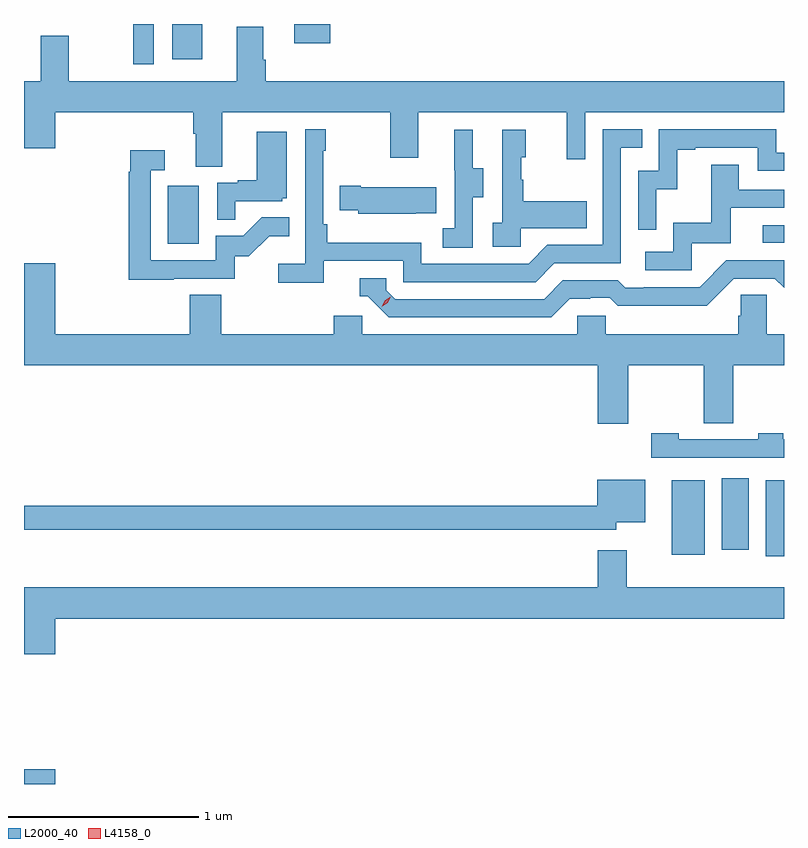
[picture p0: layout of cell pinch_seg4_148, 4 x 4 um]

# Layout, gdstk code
import gdstk
lib = gdstk.Library(unit=1e-6, precision=1e-09)
def R(c, l, rs):  # rectangles x0, y0, x1, y1
    for r in rs: c.add(gdstk.rectangle(r[:2], r[2:], *l))
def P(c, l, *ps):  # polygons
    for p in ps: c.add(gdstk.Polygon(p, *l))
L2000_40 = (2000, 40)
L4158_0 = (4158, 0)

pinch_seg4_148 = lib.new_cell('pinch_seg4_148')
R(pinch_seg4_148, L2000_40, [(1124.048,789.289,1124.212,789.367), (1127.951,790.488,1128.048,790.888), (1127.456,790.496,1127.632,790.888), (1127.72,790.521,1127.863,790.897), (1124.804,792.132,1124.968,792.439), (1127.937,792.138,1128.048,792.231), (1124.622,793.077,1124.73,793.289), (1124.828,793.104,1124.986,793.289), (1125.471,793.188,1125.659,793.289)])
P(pinch_seg4_148, L2000_40, [(1125.091,792.824),(1125.976,792.824),(1125.976,792.585),(1126.123,792.585),(1126.123,792.824),(1126.904,792.824),(1126.904,792.576),(1127.001,792.576),(1127.001,792.824),(1128.048,792.824),(1128.048,792.988),(1125.32,792.988),(1125.32,793.1),(1125.307,793.1),(1125.307,793.274),(1125.167,793.274),(1125.167,792.988),(1124.283,792.988),(1124.283,793.228),(1124.135,793.228),(1124.135,792.988),(1124.048,792.988),(1124.048,792.636),(1124.212,792.636),(1124.212,792.824),(1124.939,792.824),(1124.939,792.712),(1124.951,792.712),(1124.951,792.538),(1125.091,792.538)],
  [(1125.626,792.042),(1126.044,792.042),(1126.044,791.931),(1126.741,791.931),(1126.84,792.03),(1127.19,792.03),(1127.19,792.639),(1127.303,792.639),(1127.303,792.735),(1127.094,792.735),(1127.094,792.126),(1126.803,792.126),(1126.704,792.027),(1126.14,792.027),(1126.14,792.139),(1125.644,792.139),(1125.644,792.235),(1125.624,792.235),(1125.624,792.623),(1125.637,792.623),(1125.637,792.736),(1125.528,792.736),(1125.528,792.028),(1125.387,792.028),(1125.387,791.926),(1125.626,791.926)],
  [(1127.376,792.419),(1127.486,792.419),(1127.486,792.627),(1127.581,792.627),(1127.581,792.639),(1127.91,792.639),(1127.91,792.516),(1128.048,792.516),(1128.048,792.612),(1128.006,792.612),(1128.006,792.735),(1127.388,792.735),(1127.388,792.516),(1127.28,792.516),(1127.28,792.207),(1127.376,792.207)],
  [(1126.41,792.376),(1126.465,792.376),(1126.465,792.531),(1126.411,792.531),(1126.411,792.733),(1126.313,792.733),(1126.313,792.519),(1126.314,792.519),(1126.314,792.215),(1126.251,792.215),(1126.251,792.112),(1126.41,792.112)],
  [(1126.662,792.215),(1127.009,792.215),(1127.009,792.355),(1126.675,792.355),(1126.675,792.47),(1126.665,792.47),(1126.665,792.588),(1126.69,792.588),(1126.69,792.733),(1126.566,792.733),(1126.566,792.242),(1126.515,792.242),(1126.515,792.117),(1126.662,792.117)],
  [(1125.161,792.357),(1125.408,792.357),(1125.408,792.372),(1125.43,792.372),(1125.43,792.721),(1125.272,792.721),(1125.272,792.466),(1125.173,792.466),(1125.173,792.453),(1125.066,792.453),(1125.066,792.259),(1125.161,792.259)],
  [(1124.837,791.949),(1125.156,791.949),(1125.156,792.066),(1125.232,792.066),(1125.339,792.173),(1125.443,792.173),(1125.443,792.272),(1125.299,792.272),(1125.201,792.174),(1125.057,792.174),(1125.057,792.045),(1124.715,792.045),(1124.715,792.519),(1124.788,792.519),(1124.788,792.625),(1124.607,792.625),(1124.607,792.512),(1124.599,792.512),(1124.599,791.944),(1124.837,791.944)],
  [(1127.562,792.135),(1127.767,792.135),(1127.767,792.321),(1128.048,792.321),(1128.048,792.417),(1127.809,792.417),(1127.809,792.547),(1127.665,792.547),(1127.665,792.244),(1127.466,792.244),(1127.466,792.09),(1127.319,792.09),(1127.319,791.994),(1127.562,791.994)],
  [(1126.109,792.293),(1126.217,792.293),(1126.217,792.43),(1125.82,792.43),(1125.82,792.438),(1125.709,792.438),(1125.709,792.308),(1125.807,792.308),(1125.807,792.29),(1126.109,792.29)],
  [(1126.921,791.844),(1127.028,791.844),(1127.028,791.847),(1127.131,791.847),(1127.173,791.805),(1127.406,791.805),(1127.406,791.807),(1127.642,791.807),(1127.784,791.949),(1128,791.949),(1128.048,791.901),(1128.048,792.045),(1127.745,792.045),(1127.604,791.904),(1127.311,791.904),(1127.311,791.901),(1127.212,791.901),(1127.173,791.94),(1126.884,791.94),(1126.785,791.841),(1126.002,791.841),(1125.954,791.889),(1125.954,791.952),(1125.815,791.952),(1125.815,791.856),(1125.858,791.856),(1125.969,791.745),(1126.822,791.745)],
  [(1127.229,791.492),(1127.626,791.492),(1127.626,791.188),(1127.78,791.188),(1127.78,791.492),(1128.048,791.492),(1128.048,791.656),(1127.958,791.656),(1127.958,791.864),(1127.821,791.864),(1127.821,791.754),(1127.807,791.754),(1127.807,791.656),(1127.109,791.656),(1127.109,791.754),(1126.959,791.754),(1126.959,791.656),(1125.828,791.656),(1125.828,791.754),(1125.677,791.754),(1125.677,791.656),(1125.086,791.656),(1125.086,791.864),(1124.921,791.864),(1124.921,791.656),(1124.212,791.656),(1124.212,792.031),(1124.048,792.031),(1124.048,791.492),(1127.069,791.492),(1127.069,791.184),(1127.229,791.184)],
  [(1128.048,791.103),(1128.045,791.103),(1128.045,791.136),(1127.913,791.136),(1127.913,791.103),(1127.493,791.103),(1127.493,791.136),(1127.349,791.136),(1127.349,791.007),(1128.048,791.007)],
  [(1127.164,790.667),(1127.317,790.667),(1127.317,790.891),(1127.066,790.891),(1127.066,790.754),(1124.048,790.754),(1124.048,790.626),(1127.164,790.626)],
  [(1124.212,790.16),(1128.048,790.16),(1128.048,790.324),(1127.221,790.324),(1127.221,790.519),(1127.069,790.519),(1127.069,790.324),(1124.048,790.324),(1124.048,789.972),(1124.212,789.972)])
P(pinch_seg4_148, L4158_0, [(1125.932,791.802),(1125.932,791.802),(1125.948,791.835),(1125.978,791.854),(1125.978,791.854),(1125.978,791.854),(1125.963,791.822),(1125.932,791.802)])

lib.write_gds('pinch_seg4_148.gds')
